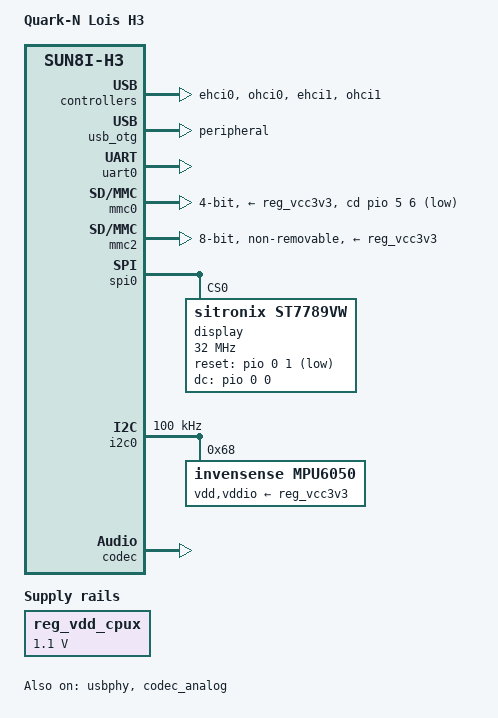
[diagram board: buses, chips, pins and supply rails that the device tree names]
/*
 * Copyright (C) 2016 James Pettigrew <james@innovum.com.au>
 *
 * This file is dual-licensed: you can use it either under the terms
 * of the GPL or the X11 license, at your option. Note that this dual
 * licensing only applies to this file, and not this project as a
 * whole.
 *
 *  a) This file is free software; you can redistribute it and/or
 *     modify it under the terms of the GNU General Public License as
 *     published by the Free Software Foundation; either version 2 of the
 *     License, or (at your option) any later version.
 *
 *     This file is distributed in the hope that it will be useful,
 *     but WITHOUT ANY WARRANTY; without even the implied warranty of
 *     MERCHANTABILITY or FITNESS FOR A PARTICULAR PURPOSE.  See the
 *     GNU General Public License for more details.
 *
 * Or, alternatively,
 *
 *  b) Permission is hereby granted, free of charge, to any person
 *     obtaining a copy of this software and associated documentation
 *     files (the "Software"), to deal in the Software without
 *     restriction, including without limitation the rights to use,
 *     copy, modify, merge, publish, distribute, sublicense, and/or
 *     sell copies of the Software, and to permit persons to whom the
 *     Software is furnished to do so, subject to the following
 *     conditions:
 *
 *     The above copyright notice and this permission notice shall be
 *     included in all copies or substantial portions of the Software.
 *
 *     THE SOFTWARE IS PROVIDED "AS IS", WITHOUT WARRANTY OF ANY KIND,
 *     EXPRESS OR IMPLIED, INCLUDING BUT NOT LIMITED TO THE WARRANTIES
 *     OF MERCHANTABILITY, FITNESS FOR A PARTICULAR PURPOSE AND
 *     NONINFRINGEMENT. IN NO EVENT SHALL THE AUTHORS OR COPYRIGHT
 *     HOLDERS BE LIABLE FOR ANY CLAIM, DAMAGES OR OTHER LIABILITY,
 *     WHETHER IN AN ACTION OF CONTRACT, TORT OR OTHERWISE, ARISING
 *     FROM, OUT OF OR IN CONNECTION WITH THE SOFTWARE OR THE USE OR
 *     OTHER DEALINGS IN THE SOFTWARE.
 */

#include "sun8i-h3-nanopi.dtsi"
#include <dt-bindings/thermal/thermal.h>

/ {
	model = "Quark-N Lois H3";
	compatible = "Lois,Quark-N-h3", "allwinner,sun8i-h3";

	aliases {
		serial0 = &uart0;
		serial1 = &uart1;
        serial2 = &uart2;
        serial3 = &uart3;
		spi0 = &spi0;
		spi1 = &spi1;
		i2c0 = &i2c0;
		i2c1 = &i2c1;
        i2c2 = &i2c2;
		mmc0 = &mmc0;
        mmc2 = &mmc2;
		i2s0 = &i2s0;
		pcm5102a = &pcm5102a;
	};

	chosen {
		/* 居中显示 1 个企鹅；若 boot.scr 覆盖 bootargs，请同步加上 */
		bootargs = "console=ttyS0,115200 root=/dev/mmcblk0p2 rootwait panic=10 fbcon=logo-count:1,logo-pos:center";
	};
	pcm5102a: pcm5102a-codec {
        #sound-dai-cells = <0>;
        compatible = "ti,pcm5102a";
        status = "disabled";
    };

    sound_i2s {
        compatible = "simple-audio-card";
        simple-audio-card,name = "I2S-master";
        simple-audio-card,mclk-fs = <256>;
        simple-audio-card,format = "i2s";
        status = "disabled";

        simple-audio-card,cpu {
            sound-dai = <&i2s0>;
        };

        simple-audio-card,codec {
            sound-dai = <&pcm5102a>;
        };
    };

	/*
	 * CPU 电压固定 1.1V（PL8 只有一档）。
	 * H3 公共 OPP 里 1008MHz 标称 1.2V，这里按 quark-n 策略改成 1.1V。
	 */
	reg_vdd_cpux: vdd_cpux {
		compatible = "regulator-gpio";
		regulator-name = "vdd_cpux";
		regulator-min-microvolt = <1100000>;
		regulator-max-microvolt = <1100000>;
		gpios = <&r_pio 0 8 GPIO_ACTIVE_HIGH>; /* PL8 */
		states = <1100000 0x1>;
		regulator-always-on;
		regulator-boot-on;
	};
};

&ehci0 {
	status = "okay";
};

&ohci0 {
	status = "okay";
};

/* USB Host，和 H5 / quark-n 参考板一样打开 usb1，供 RTL8723BU 等 USB 设备枚举 */
&ehci1 {
	status = "okay";
};

&ohci1 {
	status = "okay";
};

&usb_otg {
	status = "okay";
	dr_mode = "peripheral";
};

&usbphy {
	/* Type-A 口 VBUS 常开，和 H5 板一致 */
	usb0_id_det-gpios = <&pio 6 12 GPIO_ACTIVE_HIGH>; /* PG12 */
	status = "okay";
};

/* add for Lois */
&uart0 {
	pinctrl-names = "default";
	pinctrl-0 = <&uart0_pa_pins>;
	status = "okay";
};

&mmc0 {
    pinctrl-names = "default";
    linux,phandle = <0x20>;
    pinctrl-0 = <&mmc0_pins>;
    cd-gpios = <&pio 5 6 GPIO_ACTIVE_LOW>; /* PF6 */
    vmmc-supply = <&reg_vcc3v3>;
    bus-width = <4>;
    boot_device = <0>;
    removable = <1>;
    // cd-inverted;
    cap-sd-highspeed;
    mmc-driver-type = <0>;
    status = "okay";
};

&mmc2 {
    linux,phandle = <0x10>;
	pinctrl-names = "default";
	pinctrl-0 = <&mmc2_8bit_pins>;
	vmmc-supply = <&reg_vcc3v3>;
    clock-frequency = <52000000>;
	bus-width = <8>;
    mmc-driver-type = <1>;
	non-removable;
	cap-mmc-hw-reset;
	boot_device = <0>;
	status = "okay";
};

&spi0 {
	status = "okay";
	u-boot,dm-pre-reloc;
	bootph-all;
	pinctrl-names = "default";
	pinctrl-0 = <&spi0_pins>;
	#address-cells = <1>;
	#size-cells = <0>;

	/*
	 * IPS 1.14" 240x135 ST7789VW — same as linux_card:
	 * fb_st7789vw + fbtft_device ips_114inch_240_135
	 * PA0=DC, PA1=RESET; driver hardcodes MADCTL 0x70 / offset 40,53
	 *
	 * sitronix,st7789v kept for U-Boot; kernel binds sitronix,st7789vw.
	 */
	display@0 {
		compatible = "sitronix,st7789vw", "sitronix,st7789v";
		reg = <0>;
		status = "okay";
		spi-max-frequency = <32000000>;
		buswidth = <8>;
		/* rotate=0: FB stays 240x135; MADCTL rotation is in fb_st7789vw */
		rotate = <0>;
		fps = <33>;
		/* PA1=UART2_RX (reset), PA0=UART2_TX (dc); avoid PA4/PA5 (UART0) */
		reset-gpios = <&pio 0 1 GPIO_ACTIVE_LOW>;
		dc-gpios = <&pio 0 0 GPIO_ACTIVE_HIGH>;
		debug = <0>;

		/* U-Boot-only (kernel fbtft ignores these) */
		col-offset = <53>;
		row-offset = <40>;
		rotation = <90>;

		u-boot,dm-pre-reloc;
		bootph-all;
	};
};

/*
 * MPU6050 on TWI0: PA11=SCL, PA12=SDA. AD0 low -> address 0x68.
 * sunxi-h3-h5.dtsi 里的 i2c0_pins 只有 function = "i2c0"，没有上拉。
 * TWI 是开漏，没有上拉时 SDA/SCL 拉不高，mv64xxx 会报
 * "I2C bus locked"，probe 返回 -ETIMEDOUT(-110)。
 * 与 quark-n 一致：100kHz + PA11/PA12 内部上拉。
 */
&i2c0 {
	pinctrl-names = "default";
	pinctrl-0 = <&i2c0_pins>;
	clock-frequency = <100000>;
	status = "okay";

	mpu6050@68 {
		compatible = "invensense,mpu6050";
		reg = <0x68>;
		status = "okay";
		vdd-supply = <&reg_vcc3v3>;
		vddio-supply = <&reg_vcc3v3>;
	};
};

&i2c0_pins {
	bias-pull-up;
};


&codec {
    compatible = "allwinner,sun8i-h3-codec";
    #sound-dai-cells = <0>;
    allwinner,audio-routing =
        "Line Out", "LINEOUT",
        "MIC1", "Mic",
        "Mic",  "MBIAS";
    status = "okay";
};

&codec_analog {
    status = "okay";
};

/*
 * H3 只使用 sun8i-h3.dtsi 里的三档：648 / 816 / 1008 MHz。
 * 电压改成固定 1.1V，和 reg_vdd_cpux 一致。
 * cooling state 0 是最高频率：
 *   0:1008  1:816  2:648 MHz
 */
&cpu0_opp_table {
	opp-648000000 {
		opp-microvolt = <1100000>;
	};

	opp-816000000 {
		opp-microvolt = <1100000>;
	};

	opp-1008000000 {
		opp-microvolt = <1100000>;
	};
};

&cpu0 {
	cpu-supply = <&reg_vdd_cpux>;
};

&cpu1 {
	cpu-supply = <&reg_vdd_cpux>;
};

&cpu2 {
	cpu-supply = <&reg_vdd_cpux>;
};

&cpu3 {
	cpu-supply = <&reg_vdd_cpux>;
};

&cpu_thermal {
	polling-delay = <1000>;
	polling-delay-passive = <200>;
	/* H3 ths 的 #thermal-sensor-cells = <0>，这里不能带 sensor id */
	thermal-sensors = <&ths>;

	/* 去掉公共 dtsi 的 80°C passive / 100°C critical，只保留这套降频策略 */
	/delete-node/ trips;
	/delete-node/ cooling-maps;

	trips {
		cpu_warm: cpu_warm {
			temperature = <55000>;
			hysteresis = <5000>;
			type = "passive";
		};
		cpu_hot: cpu_hot {
			temperature = <62000>;
			hysteresis = <5000>;
			type = "passive";
		};
		cpu_very_hot: cpu_very_hot {
			temperature = <70000>;
			hysteresis = <5000>;
			type = "passive";
		};
		cpu_extreme: cpu_extreme {
			temperature = <76000>;
			hysteresis = <5000>;
			type = "passive";
		};
		cpu_crit: cpu_crit {
			temperature = <80000>;
			hysteresis = <0>;
			type = "critical";
		};
	};

	cooling-maps {
		/* state >= 1：最高 816MHz */
		cpu_warm_limit_cpu {
			trip = <&cpu_warm>;
			cooling-device = <&cpu0 1 THERMAL_NO_LIMIT>,
					 <&cpu1 1 THERMAL_NO_LIMIT>,
					 <&cpu2 1 THERMAL_NO_LIMIT>,
					 <&cpu3 1 THERMAL_NO_LIMIT>;
		};
		/* state >= 2：锁在 648MHz。H3 最低档就是 648MHz */
		cpu_hot_limit_cpu {
			trip = <&cpu_hot>;
			cooling-device = <&cpu0 2 THERMAL_NO_LIMIT>,
					 <&cpu1 2 THERMAL_NO_LIMIT>,
					 <&cpu2 2 THERMAL_NO_LIMIT>,
					 <&cpu3 2 THERMAL_NO_LIMIT>;
		};
		cpu_very_hot_limit_cpu {
			trip = <&cpu_very_hot>;
			cooling-device = <&cpu0 2 THERMAL_NO_LIMIT>,
					 <&cpu1 2 THERMAL_NO_LIMIT>,
					 <&cpu2 2 THERMAL_NO_LIMIT>,
					 <&cpu3 2 THERMAL_NO_LIMIT>;
		};
		cpu_extreme_limit_cpu {
			trip = <&cpu_extreme>;
			cooling-device = <&cpu0 2 THERMAL_NO_LIMIT>,
					 <&cpu1 2 THERMAL_NO_LIMIT>,
					 <&cpu2 2 THERMAL_NO_LIMIT>,
					 <&cpu3 2 THERMAL_NO_LIMIT>;
		};
	};
};

